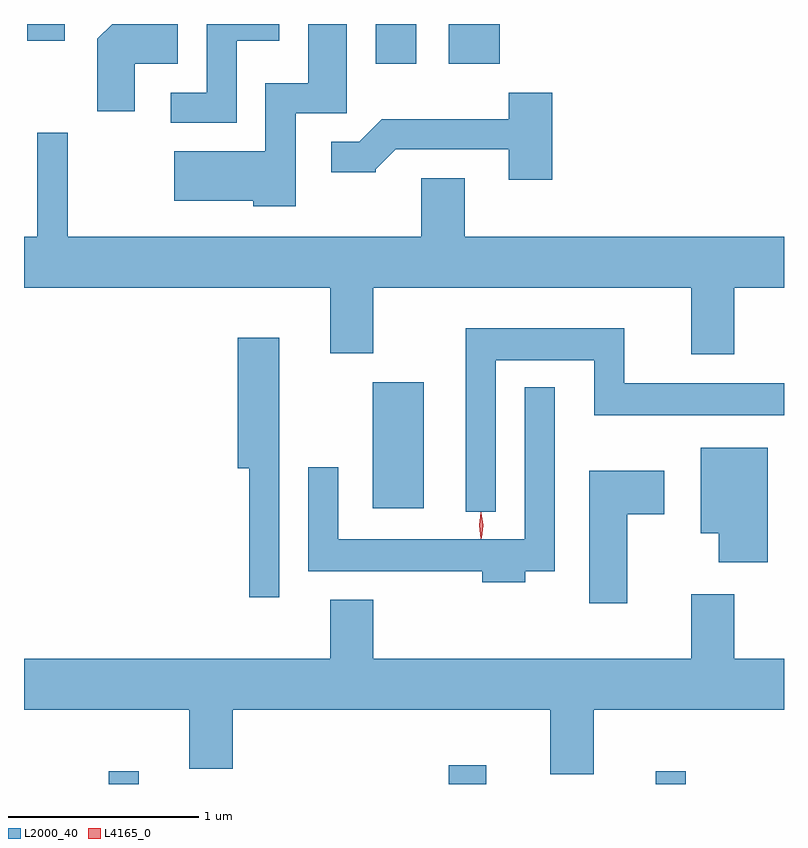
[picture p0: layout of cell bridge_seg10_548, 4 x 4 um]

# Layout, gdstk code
import gdstk
lib = gdstk.Library(unit=1e-6, precision=1e-09)
def R(c, l, rs):  # rectangles x0, y0, x1, y1
    for r in rs: c.add(gdstk.rectangle(r[:2], r[2:], *l))
def P(c, l, *ps):  # polygons
    for p in ps: c.add(gdstk.Polygon(p, *l))
L2000_40 = (2000, 40)
L4165_0 = (4165, 0)

bridge_seg10_548 = lib.new_cell('bridge_seg10_548')
R(bridge_seg10_548, L2000_40, [(763.326,2155.705,763.484,2155.773), (765.116,2155.705,765.314,2155.804), (766.206,2155.705,766.364,2155.773), (764.716,2157.156,764.984,2157.819), (764.731,2159.496,764.944,2159.705), (765.116,2159.496,765.384,2159.705), (762.896,2159.616,763.094,2159.705)])
P(bridge_seg10_548, L2000_40, [(763.464,2159.496),(763.689,2159.496),(763.689,2159.705),(763.345,2159.705),(763.266,2159.627),(763.266,2159.246),(763.464,2159.246)],
  [(764.309,2159.236),(764.579,2159.236),(764.579,2159.705),(764.376,2159.705),(764.376,2159.394),(764.151,2159.394),(764.151,2159.034),(763.671,2159.034),(763.671,2158.776),(764.086,2158.776),(764.086,2158.746),(764.309,2158.746)],
  [(763.999,2159.616),(764.224,2159.616),(764.224,2159.705),(763.841,2159.705),(763.841,2159.344),(763.653,2159.344),(763.653,2159.186),(763.999,2159.186)],
  [(765.659,2159.344),(765.431,2159.344),(765.431,2159.204),(764.764,2159.204),(764.644,2159.084),(764.498,2159.084),(764.498,2158.926),(764.73,2158.926),(764.73,2158.94),(764.837,2159.046),(765.431,2159.046),(765.431,2158.886),(765.659,2158.886)],
  [(766.619,2158.316),(766.88,2158.316),(766.88,2158.584),(765.199,2158.584),(765.199,2158.894),(764.971,2158.894),(764.971,2158.584),(763.109,2158.584),(763.109,2159.133),(762.951,2159.133),(762.951,2158.584),(762.88,2158.584),(762.88,2158.316),(764.491,2158.316),(764.491,2157.971),(764.719,2157.971),(764.719,2158.316),(766.391,2158.316),(766.391,2157.966),(766.619,2157.966)],
  [(765.364,2157.936),(765.881,2157.936),(765.881,2157.646),(766.88,2157.646),(766.88,2157.814),(766.039,2157.814),(766.039,2158.104),(765.206,2158.104),(765.206,2157.138),(765.364,2157.138)],
  [(764.224,2158.054),(764.006,2158.054),(764.006,2157.366),(764.066,2157.366),(764.066,2156.688),(764.224,2156.688)],
  [(765.519,2156.826),(765.674,2156.826),(765.674,2157.793),(765.516,2157.793),(765.516,2156.994),(764.534,2156.994),(764.534,2157.373),(764.376,2157.373),(764.376,2156.826),(765.291,2156.826),(765.291,2156.766),(765.519,2156.766)],
  [(766.794,2157.474),(766.441,2157.474),(766.441,2157.026),(766.536,2157.026),(766.536,2156.871),(766.794,2156.871)],
  [(766.054,2157.126),(766.249,2157.126),(766.249,2157.354),(765.856,2157.354),(765.856,2156.656),(766.054,2156.656)],
  [(765.879,2156.096),(766.88,2156.096),(766.88,2156.364),(766.619,2156.364),(766.619,2156.704),(766.391,2156.704),(766.391,2156.364),(764.719,2156.364),(764.719,2156.674),(764.491,2156.674),(764.491,2156.364),(762.88,2156.364),(762.88,2156.096),(763.751,2156.096),(763.751,2155.786),(763.979,2155.786),(763.979,2156.096),(765.651,2156.096),(765.651,2155.756),(765.879,2155.756)])
P(bridge_seg10_548, L4165_0, [(765.284,2156.997),(765.275,2157.066),(765.284,2157.136),(765.285,2157.136),(765.286,2157.136),(765.295,2157.066),(765.286,2156.997),(765.285,2156.997)],
  [(765.287,2156.999),(765.287,2157),(765.277,2157.066),(765.286,2157.132),(765.287,2157.133),(765.287,2157.132),(765.297,2157.066),(765.288,2157)])

lib.write_gds('bridge_seg10_548.gds')
